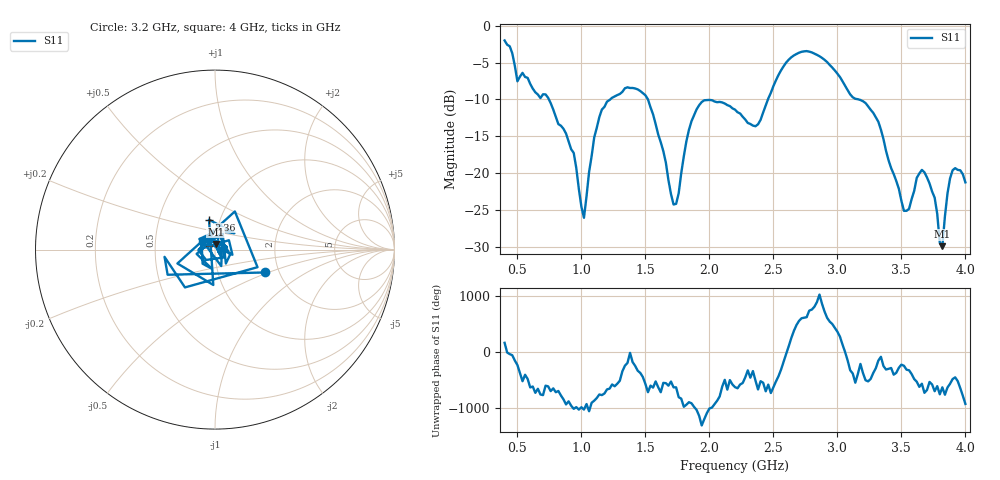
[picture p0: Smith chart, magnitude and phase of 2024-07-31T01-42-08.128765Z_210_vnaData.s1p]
!Created with skrf (http://scikit-rf.org).
# Hz S RI R 50.0
!freq ReS11 ImS11
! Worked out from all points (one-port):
!   181 points, 400 MHz to 4 GHz, reference 50 ohm
!   lowest |S11| = -29.9 dB at 3.82 GHz (marker M1), VSWR 1.07, Z = 50.3 + j3.19 ohm
!   |S11| at or under -10 dB: 746.1 MHz to 1.225 GHz (479 MHz wide, 48.6 % of centre); 1.52 GHz to 2.457 GHz (937.3 MHz wide, 47.1 % of centre); 3.165 GHz to end of sweep
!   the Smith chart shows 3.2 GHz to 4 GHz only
!   S11 on the Smith chart (normalised r, x): 3.2 GHz: 1.69, -0.48; 3.36 GHz: 0.89, +0.30; 4 GHz: 0.86, +0.09
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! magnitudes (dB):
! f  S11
! 400 MHz  -2.0
! 500 MHz  -7.5
! 720 MHz  -9.3
! 860 MHz  -14.0
! 940 MHz  -17.3
! 1.02 GHz  -26.1
! 1.14 GHz  -12.4
! 1.3 GHz  -9.3
! 1.52 GHz  -10.0
! 1.72 GHz  -24.3
! 1.76 GHz  -22.7
! 1.84 GHz  -14.1
! 1.92 GHz  -10.8
! 2.2 GHz  -11.4
! 2.38 GHz  -13.4
! 2.66 GHz  -4.0
! 2.88 GHz  -4.4
! 3.1 GHz  -9.3
! 3.2 GHz  -10.2
! 3.36 GHz  -15.4
! 3.52 GHz  -25.1
! 3.56 GHz  -24.8
! 3.68 GHz  -19.9
! 3.76 GHz  -23.3
! 3.82 GHz  -29.9
! 3.86 GHz  -22.8
! 3.9 GHz  -19.6
! 4 GHz  -21.2
